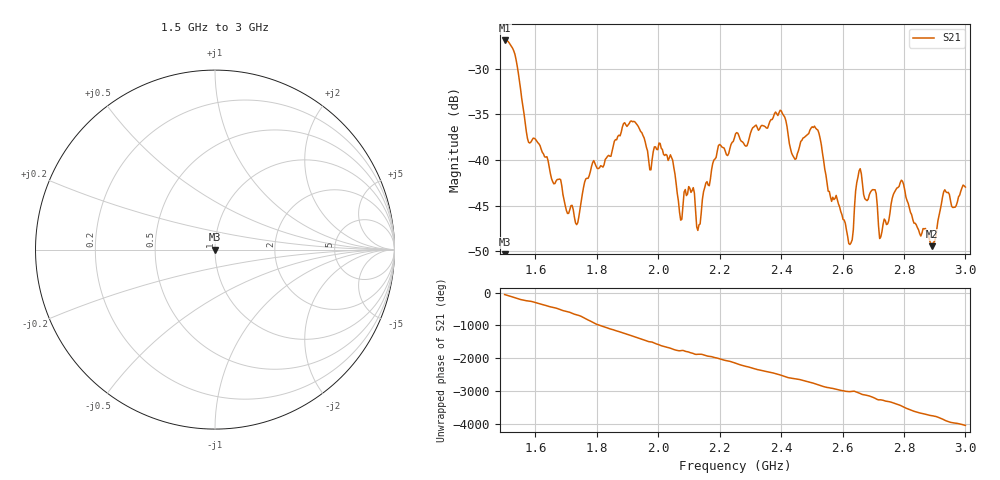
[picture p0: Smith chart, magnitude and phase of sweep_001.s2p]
# HZ S RI R 50
! BoneWave AI live acquisition
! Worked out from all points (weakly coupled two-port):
!   404 points, 1.5 GHz to 3 GHz, reference 50 ohm
!   highest |S21| = -26.88 dB at 1.5 GHz (marker M1); lowest = -49.5 dB at 2.892 GHz (marker M2)
!   lowest |S11| = - dB at 1.5 GHz (marker M3), VSWR 1.00, Z = 50 + j0 ohm
!   |S11| at or under -10 dB: start of sweep to end of sweep
!   S12 and S22 are empty: the file has one direction only
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1.5e9  0 0  0.0263 -0.0369  0 0  0 0
1.533499e9  0 0  -0.0339 -0.0173  0 0  0 0
1.578164e9  0 0  -0.00396 0.0119  0 0  0 0
1.734491e9  0 0  0.00311 0.00314  0 0  0 0
1.753102e9  0 0  0.00612 -0.00224  0 0  0 0
1.890819e9  0 0  -0.0156 -0.0035  0 0  0 0
2.002481e9  0 0  -0.0106 -0.00646  0 0  0 0
2.073201e9  0 0  0.00408 0.00229  0 0  0 0
2.132754e9  0 0  0.000736 -0.00435  0 0  0 0
2.192308e9  0 0  -0.0107 0.00333  0 0  0 0
2.251861e9  0 0  0.0139 0.0015  0 0  0 0
2.400744e9  0 0  0.0185 -0.00138  0 0  0 0
2.445409e9  0 0  -0.0033 -0.00953  0 0  0 0
2.501241e9  0 0  -0.00903 0.0123  0 0  0 0
2.624069e9  0 0  -0.00271 -0.00212  0 0  0 0
2.653846e9  0 0  -0.00869 0.000607  0 0  0 0
2.724566e9  0 0  0.00318 -0.00205  0 0  0 0
2.75062e9  0 0  0.000224 -0.00465  0 0  0 0
2.791563e9  0 0  -0.00608 0.0048  0 0  0 0
2.89206e9  0 0  -0.00312 -0.00127  0 0  0 0
2.933002e9  0 0  0.00309 0.00614  0 0  0 0
3e9  0 0  -0.000761 -0.00707  0 0  0 0
